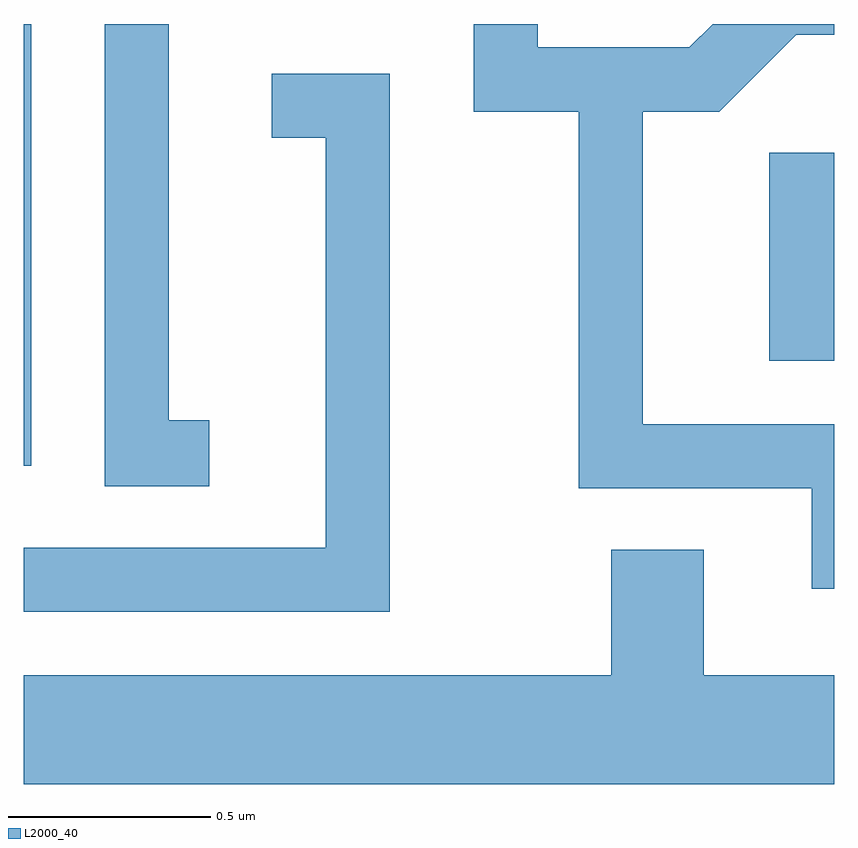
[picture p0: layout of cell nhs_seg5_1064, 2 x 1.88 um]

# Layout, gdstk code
import gdstk
lib = gdstk.Library(unit=1e-6, precision=1e-09)
def R(c, l, rs):  # rectangles x0, y0, x1, y1
    for r in rs: c.add(gdstk.rectangle(r[:2], r[2:], *l))
def P(c, l, *ps):  # polygons
    for p in ps: c.add(gdstk.Polygon(p, *l))
L2000_40 = (2000, 40)

nhs_seg5_1064 = lib.new_cell('nhs_seg5_1064')
R(nhs_seg5_1064, L2000_40, [(192.611,1501.981,192.629,1503.072), (194.451,1502.241,194.611,1502.754)])
P(nhs_seg5_1064, L2000_40, [(193.068,1502.094),(192.969,1502.094),(192.969,1503.072),(192.811,1503.072),(192.811,1501.931),(193.068,1501.931)],
  [(194.611,1502.084),(194.139,1502.084),(194.139,1502.856),(194.327,1502.856),(194.517,1503.046),(194.611,1503.046),(194.611,1503.072),(194.312,1503.072),(194.254,1503.014),(193.879,1503.014),(193.879,1503.072),(193.721,1503.072),(193.721,1502.856),(193.981,1502.856),(193.981,1501.926),(194.556,1501.926),(194.556,1501.678),(194.611,1501.678)],
  [(193.514,1502.949),(193.223,1502.949),(193.223,1502.791),(193.356,1502.791),(193.356,1501.779),(192.611,1501.779),(192.611,1501.621),(193.514,1501.621)],
  [(194.611,1501.464),(194.289,1501.464),(194.289,1501.774),(194.061,1501.774),(194.061,1501.464),(192.611,1501.464),(192.611,1501.196),(194.611,1501.196)])

lib.write_gds('nhs_seg5_1064.gds')
